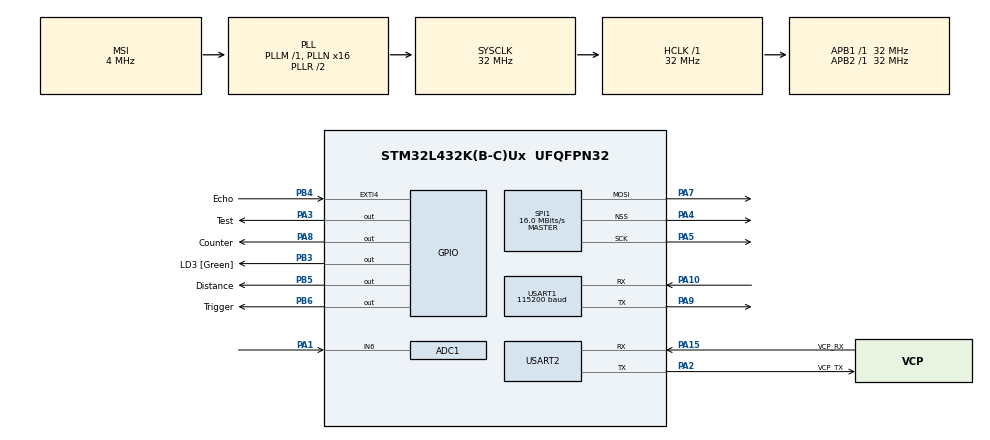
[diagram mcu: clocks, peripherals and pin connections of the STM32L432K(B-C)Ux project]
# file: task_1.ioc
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ADC1.Channel-0\#ChannelRegularConversion=ADC_CHANNEL_6
ADC1.ContinuousConvMode=DISABLE
ADC1.ExternalTrigConv=ADC_EXTERNALTRIG_T1_TRGO
ADC1.NbrOfConversionFlag=1
ADC1.OffsetNumber-0\#ChannelRegularConversion=ADC_OFFSET_NONE
ADC1.Rank-0\#ChannelRegularConversion=1
ADC1.Resolution=ADC_RESOLUTION_12B
ADC1.SamplingTime-0\#ChannelRegularConversion=ADC_SAMPLETIME_2CYCLES_5
ADC1.master=1
Dma.Request0=SPI1_TX
Dma.SPI1_TX.0.Direction=DMA_MEMORY_TO_PERIPH
Dma.SPI1_TX.0.Instance=DMA1_Channel3
Dma.SPI1_TX.0.MemDataAlignment=DMA_MDATAALIGN_BYTE
Dma.SPI1_TX.0.MemInc=DMA_MINC_ENABLE
Dma.SPI1_TX.0.Mode=DMA_NORMAL
Dma.SPI1_TX.0.PeriphDataAlignment=DMA_PDATAALIGN_BYTE
Dma.SPI1_TX.0.PeriphInc=DMA_PINC_DISABLE
Dma.SPI1_TX.0.Priority=DMA_PRIORITY_LOW
Mcu.Family=STM32L4
Mcu.Name=STM32L432K(B-C)Ux
Mcu.Package=UFQFPN32
NVIC.ADC1_IRQn=true\:0\:0\:false\:false\:true\:true\:true\:true
NVIC.DMA1_Channel3_IRQn=true\:0\:0\:false\:false\:true\:false\:true\:true
NVIC.EXTI4_IRQn=true\:0\:0\:false\:false\:true\:true\:true\:true
NVIC.PriorityGroup=NVIC_PRIORITYGROUP_4
NVIC.SPI1_IRQn=true\:0\:0\:false\:false\:true\:true\:true\:true
NVIC.TIM1_BRK_TIM15_IRQn=true\:0\:0\:false\:false\:true\:true\:true\:true
NVIC.TIM1_CC_IRQn=true\:0\:0\:false\:false\:true\:true\:true\:true
NVIC.TIM1_TRG_COM_IRQn=true\:0\:0\:false\:false\:true\:true\:true\:true
NVIC.TIM1_UP_TIM16_IRQn=true\:0\:0\:false\:false\:true\:true\:true\:true
NVIC.TIM2_IRQn=true\:0\:0\:false\:false\:true\:true\:true\:true
NVIC.USART1_IRQn=true\:0\:0\:false\:false\:true\:true\:true\:true
PA0.GPIO_Label=MCO [High speed clock in]
PA0.Mode=HSE-External-Clock-Source-for-LittleOrca
PA0.Signal=RCC_CK_IN
PA1.Signal=ADCx_IN6
PA10.Mode=Asynchronous
PA10.Signal=USART1_RX
PA13\ (JTMS-SWDIO).GPIO_Label=SWDIO
PA13\ (JTMS-SWDIO).Mode=Serial_Wire
PA13\ (JTMS-SWDIO).Signal=SYS_JTMS-SWDIO
PA14\ (JTCK-SWCLK).GPIO_Label=SWCLK
PA14\ (JTCK-SWCLK).Mode=Serial_Wire
PA14\ (JTCK-SWCLK).Signal=SYS_JTCK-SWCLK
PA15\ (JTDI).GPIO_Label=VCP_RX
PA15\ (JTDI).Mode=Asynchronous
PA15\ (JTDI).Signal=USART2_RX
PA2.GPIO_Label=VCP_TX
PA2.Mode=Asynchronous
PA2.Signal=USART2_TX
PA3.GPIO_Label=Test
PA3.Signal=GPIO_Output
PA4.Mode=NSS_Signal_Hard_Output
PA4.Signal=SPI1_NSS
PA5.Mode=TX_Only_Simplex_Unidirect_Master
PA5.Signal=SPI1_SCK
PA7.Mode=TX_Only_Simplex_Unidirect_Master
PA7.Signal=SPI1_MOSI
PA8.GPIO_Label=Counter
PA8.Signal=GPIO_Output
PA9.Mode=Asynchronous
PA9.Signal=USART1_TX
PB3\ (JTDO-TRACESWO).GPIO_Label=LD3 [Green]
PB3\ (JTDO-TRACESWO).Signal=GPIO_Output
PB4\ (NJTRST).GPIO_Label=Echo
PB4\ (NJTRST).GPIO_ModeDefaultEXTI=GPIO_MODE_IT_RISING_FALLING
PB4\ (NJTRST).Signal=GPXTI4
PB5.GPIO_Label=Distance
PB5.Signal=GPIO_Output
PB6.GPIO_Label=Trigger
PB6.Signal=GPIO_Output
PC14-OSC32_IN\ (PC14).Mode=LSE-External-Oscillator
PC14-OSC32_IN\ (PC14).Signal=RCC_OSC32_IN
PC15-OSC32_OUT\ (PC15).Mode=LSE-External-Oscillator
PC15-OSC32_OUT\ (PC15).Signal=RCC_OSC32_OUT
ProjectManager.HeapSize=0x200
ProjectManager.StackSize=0x400
ProjectManager.TargetToolchain=STM32CubeIDE
RCC.ADCFreq_Value=32000000
RCC.AHBFreq_Value=32000000
RCC.APB1Freq_Value=32000000
RCC.APB1TimFreq_Value=32000000
RCC.APB2Freq_Value=32000000
RCC.APB2TimFreq_Value=32000000
RCC.CortexFreq_Value=32000000
RCC.HCLKFreq_Value=32000000
RCC.HSE_VALUE=8000000
RCC.HSI16_VALUE=16000000
RCC.HSI48_VALUE=48000000
RCC.HSI_VALUE=16000000
RCC.MSI_VALUE=4000000
RCC.PLLMUL=RCC_PLLMUL_4
RCC.PLLN=16
RCC.PLLSAI1N=16
RCC.SYSCLKFreq_VALUE=32000000
RCC.SYSCLKSource=RCC_SYSCLKSOURCE_PLLCLK
RCC.USBFreq_Value=32000000
RCC.VCOOutputFreq_Value=64000000
SH.ADCx_IN6.0=ADC1_IN6,IN6-Single-Ended
SPI1.CalculateBaudRate=16.0 MBits/s
SPI1.DataSize=SPI_DATASIZE_12BIT
SPI1.Direction=SPI_DIRECTION_2LINES
SPI1.Mode=SPI_MODE_MASTER
SPI1.VirtualNSS=VM_NSSHARD
SPI1.VirtualType=VM_MASTER
TIM1.Period=120
TIM1.Prescaler=5
TIM1.TIM_MasterOutputTrigger=TIM_TRGO_UPDATE
TIM16.Period=60000
TIM16.Prescaler=31
TIM2.Period=10
TIM2.Prescaler=31
USART1.BaudRate=115200
USART1.VirtualMode-Asynchronous=VM_ASYNC
USART2.VirtualMode-Asynchronous=VM_ASYNC
VP_TIM16_VS_ClockSourceINT.Mode=Enable_Timer
VP_TIM1_VS_ClockSourceINT.Mode=Internal
VP_TIM2_VS_ClockSourceINT.Mode=Internal
board=NUCLEO-L432KC

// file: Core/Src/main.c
/* USER CODE BEGIN Header */
/**
  ******************************************************************************
  * @file           : main.c
  * @brief          : Main program body
  ******************************************************************************
  * @attention
  *
  * Copyright (c) 2026 STMicroelectronics.
  * All rights reserved.
  *
  * This software is licensed under terms that can be found in the LICENSE file
  * in the root directory of this software component.
  * If no LICENSE file comes with this software, it is provided AS-IS.
  *
  ******************************************************************************
  */
/* USER CODE END Header */
#include "main.h"

/* USER CODE BEGIN PTD */
typedef enum {
    RUNNING,
    WAIT_FOR_START,
	OUT_OF_DISTANCE
} SystemState;

typedef enum{
	MANUAL_RECORDING,
	DISTANCE_TRIGGERED
} Mode;

typedef enum{
	IDLE,
	TRIGGER_HIGH,
	WAITING_FOR_ECHO,
	ECHO_HIGH
} SensorState;
/* USER CODE END PTD */

ADC_HandleTypeDef hadc1;

TIM_HandleTypeDef htim1;
TIM_HandleTypeDef htim2;
TIM_HandleTypeDef htim16;

UART_HandleTypeDef huart1;
UART_HandleTypeDef huart2;

/* USER CODE BEGIN PV */

const uint8_t STOP_INSTRUCTION = 64;
const uint8_t START = 4;
const uint8_t RECEIVED_CONFIRMATION = 27;
const uint8_t MANUAL_RECORDING_MODE = 17;
const uint8_t DISTANCE_TRIGGERING_MODE = 34;
const double VALID_DISTANCE = 10;  //cm

SystemState state = RUNNING;
Mode operation_mode = MANUAL_RECORDING;
SensorState sensor = IDLE;
uint8_t instruction;
uint8_t received_confirmation;
uint8_t mode;
uint16_t echo_rising, echo_falling;

static void SPI1_WriteByte(uint16_t tx_byte){
	while(!LL_SPI_IsActiveFlag_TXE(SPI1)){;}
	LL_SPI_TransmitData8(SPI1, tx_byte);
	while(LL_SPI_IsActiveFlag_BSY(SPI1)){;}
	LL_SPI_ClearFlag_OVR(SPI1);
}

/* USER CODE END PV */

void SystemClock_Config(void);
static void MX_GPIO_Init(void);
static void MX_DMA_Init(void);
static void MX_USART2_UART_Init(void);
static void MX_ADC1_Init(void);
static void MX_TIM1_Init(void);
static void MX_USART1_UART_Init(void);
static void MX_SPI1_Init(void);
static void MX_TIM16_Init(void);
static void MX_TIM2_Init(void);

/* USER CODE BEGIN 0 */
void HAL_ADC_ConvCpltCallback(ADC_HandleTypeDef *hadc){
	HAL_GPIO_TogglePin(Test_GPIO_Port, Test_Pin);  // for debugging
	uint16_t data = HAL_ADC_GetValue(&hadc1);
	SPI1_WriteByte(data);
}

void HAL_TIM_PeriodElapsedCallback(TIM_HandleTypeDef *htim) {

    if (htim->Instance == TIM16 && operation_mode == DISTANCE_TRIGGERED)  // && sensor = IDLE
    {
      // fires every 60ms in distance triggering mode
		HAL_GPIO_TogglePin(Test_GPIO_Port, Test_Pin);
    	HAL_TIM_Base_Start_IT(&htim2);
		__HAL_TIM_SET_COUNTER(&htim2,  0);
		sensor = TRIGGER_HIGH;
		HAL_GPIO_WritePin(Trigger_GPIO_Port, Trigger_Pin, 1);

    } else if(htim->Instance == TIM2 && sensor == TRIGGER_HIGH && operation_mode == DISTANCE_TRIGGERED){
      // fire after trigger stays high for 10us
      sensor = WAITING_FOR_ECHO;
      HAL_GPIO_WritePin(Trigger_GPIO_Port, Trigger_Pin, 0);
      HAL_TIM_Base_Stop_IT(&htim2);

    } else if (htim->Instance == TIM1)
    {
	    HAL_GPIO_TogglePin(Counter_GPIO_Port, Counter_Pin);   // for debugging
    }
    };

void HAL_GPIO_EXTI_Callback(uint16_t GPIO_Pin)
{
	// to handle the rising edge and failling edge of the Echo
    if (GPIO_Pin == GPIO_PIN_4 && operation_mode == DISTANCE_TRIGGERED)  // PB7
    {
        if (HAL_GPIO_ReadPin(GPIOB, GPIO_PIN_4) == GPIO_PIN_SET && sensor == WAITING_FOR_ECHO)
        {
            // rising edge
            echo_rising = __HAL_TIM_GET_COUNTER(&htim16);
            sensor = ECHO_HIGH;
        }
        else if (HAL_GPIO_ReadPin(GPIOB, GPIO_PIN_4) != GPIO_PIN_SET && sensor == ECHO_HIGH)
        {
            // falling edge
            echo_falling = __HAL_TIM_GET_COUNTER(&htim16);
            sensor = IDLE;
            double distance = ((double)echo_falling - (double)echo_rising) * 0.01715;
            if (state == OUT_OF_DISTANCE && distance < VALID_DISTANCE){
            	state = RUNNING;
            	HAL_TIM_Base_Start_IT(&htim1);    // start sampling
			  __HAL_TIM_SET_COUNTER(&htim1, 0);
			  HAL_GPIO_WritePin(Distance_GPIO_Port, Distance_Pin, 0);
            } else if (state == RUNNING && distance > VALID_DISTANCE + 2){
            	state = OUT_OF_DISTANCE;
                HAL_TIM_Base_Stop_IT(&htim1);     // stop the sampling
                HAL_GPIO_WritePin(Distance_GPIO_Port, Distance_Pin, 1);
            }
        }
    }
}

void HAL_UART_RxCpltCallback(UART_HandleTypeDef *huart)
{
    if (huart->Instance == USART1)
    {
    	if (instruction == STOP_INSTRUCTION){
    		HAL_TIM_Base_Stop_IT(&htim1);
    		HAL_UART_Transmit(&huart1, &RECEIVED_CONFIRMATION, 1, HAL_MAX_DELAY);
			HAL_GPIO_WritePin(LD3_GPIO_Port, LD3_Pin,1);

    		HAL_UART_Receive(&huart1, &mode, 1, HAL_MAX_DELAY);

    		if (mode == 17 || mode == 34){
    			if (mode == 17){
    				operation_mode = MANUAL_RECORDING;
    			} else{
    				operation_mode = DISTANCE_TRIGGERED;
    			};

    			HAL_UART_Transmit(&huart1, &RECEIVED_CONFIRMATION, 1, HAL_MAX_DELAY);
    		} else{
    			// invalid mode received

    		}

    		state = WAIT_FOR_START;
    		HAL_UART_Receive_IT(&huart1, &instruction, 1); // re-arm for start instruction

    	} else if (instruction == START && state == WAIT_FOR_START){

    		HAL_UART_Receive_IT(&huart1, &instruction, 1); // re-arm for stop instruction
    		if (operation_mode == DISTANCE_TRIGGERED){
    			HAL_TIM_Base_Start_IT(&htim16);
    			__HAL_TIM_SET_COUNTER(&htim16,  58000);
    			state = OUT_OF_DISTANCE; // assume the sensor is out of distance when initialized

    		} else{
    			// start sampling if it is not in DISTANCE_Triggered
    			state = RUNNING;
			  HAL_TIM_Base_Start_IT(&htim1);
			  __HAL_TIM_SET_COUNTER(&htim1, 0);
    		}
    	}
    }
}

/* USER CODE END 0 */

int main(void)
{

  /* MCU Configuration--------------------------------------------------------*/

  /* Reset of all peripherals, Initializes the Flash interface and the Systick. */
  HAL_Init();

  /* Configure the system clock */
  SystemClock_Config();

  /* Initialize all configured peripherals */
  MX_GPIO_Init();
  MX_DMA_Init();
  MX_USART2_UART_Init();
  MX_ADC1_Init();
  MX_TIM1_Init();
  MX_USART1_UART_Init();
  MX_SPI1_Init();
  MX_TIM16_Init();
  MX_TIM2_Init();
  /* USER CODE BEGIN 2 */
  HAL_TIM_Base_Start_IT(&htim1);
  __HAL_TIM_SET_COUNTER(&htim1, 0);
  HAL_ADC_Start_IT(&hadc1);
  LL_SPI_Enable(SPI1);

  HAL_UART_Receive_IT(&huart1, &instruction, 1);
  HAL_GPIO_WritePin(Trigger_GPIO_Port, Trigger_Pin, 0);
  HAL_GPIO_WritePin(Distance_GPIO_Port, Distance_Pin, 0);

  //debugging signals

  HAL_GPIO_WritePin(Test_GPIO_Port, Test_Pin, 0);
  HAL_GPIO_WritePin(Counter_GPIO_Port, Counter_Pin, 0);

  /* USER CODE END 2 */

  /* Infinite loop */
  while (1)
  {

    /* USER CODE BEGIN 3 */
	  while(state == WAIT_FOR_START){
		  HAL_GPIO_TogglePin(LD3_GPIO_Port, LD3_Pin);
		  HAL_Delay(500);
	  }

	  while (state == RUNNING){
		  HAL_GPIO_WritePin(LD3_GPIO_Port, LD3_Pin, 0);
	  };

	  while (state == RUNNING && mode == DISTANCE_TRIGGERED){
		  HAL_GPIO_WritePin(LD3_GPIO_Port, LD3_Pin, 1);
	  };

	  while (state == OUT_OF_DISTANCE && mode == DISTANCE_TRIGGERED){
		  HAL_GPIO_WritePin(LD3_GPIO_Port, LD3_Pin,0);
	  }

  }
  /* USER CODE END 3 */
}

void SystemClock_Config(void)
{
  RCC_OscInitTypeDef RCC_OscInitStruct = {0};
  RCC_ClkInitTypeDef RCC_ClkInitStruct = {0};

  /** Configure the main internal regulator output voltage
  */
  if (HAL_PWREx_ControlVoltageScaling(PWR_REGULATOR_VOLTAGE_SCALE1) != HAL_OK)
  {
    Error_Handler();
  }

  /** Configure LSE Drive Capability
  */
  HAL_PWR_EnableBkUpAccess();
  __HAL_RCC_LSEDRIVE_CONFIG(RCC_LSEDRIVE_LOW);

  /** Initializes the RCC Oscillators according to the specified parameters
  * in the RCC_OscInitTypeDef structure.
  */
  RCC_OscInitStruct.OscillatorType = RCC_OSCILLATORTYPE_LSE|RCC_OSCILLATORTYPE_MSI;
  RCC_OscInitStruct.LSEState = RCC_LSE_ON;
  RCC_OscInitStruct.MSIState = RCC_MSI_ON;
  RCC_OscInitStruct.MSICalibrationValue = 0;
  RCC_OscInitStruct.MSIClockRange = RCC_MSIRANGE_6;
  RCC_OscInitStruct.PLL.PLLState = RCC_PLL_ON;
  RCC_OscInitStruct.PLL.PLLSource = RCC_PLLSOURCE_MSI;
  RCC_OscInitStruct.PLL.PLLM = 1;
  RCC_OscInitStruct.PLL.PLLN = 16;
  RCC_OscInitStruct.PLL.PLLP = RCC_PLLP_DIV7;
  RCC_OscInitStruct.PLL.PLLQ = RCC_PLLQ_DIV2;
  RCC_OscInitStruct.PLL.PLLR = RCC_PLLR_DIV2;
  if (HAL_RCC_OscConfig(&RCC_OscInitStruct) != HAL_OK)
  {
    Error_Handler();
  }

  /** Initializes the CPU, AHB and APB buses clocks
  */
  RCC_ClkInitStruct.ClockType = RCC_CLOCKTYPE_HCLK|RCC_CLOCKTYPE_SYSCLK
                              |RCC_CLOCKTYPE_PCLK1|RCC_CLOCKTYPE_PCLK2;
  RCC_ClkInitStruct.SYSCLKSource = RCC_SYSCLKSOURCE_PLLCLK;
  RCC_ClkInitStruct.AHBCLKDivider = RCC_SYSCLK_DIV1;
  RCC_ClkInitStruct.APB1CLKDivider = RCC_HCLK_DIV1;
  RCC_ClkInitStruct.APB2CLKDivider = RCC_HCLK_DIV1;

  if (HAL_RCC_ClockConfig(&RCC_ClkInitStruct, FLASH_LATENCY_1) != HAL_OK)
  {
    Error_Handler();
  }

  /** Enable MSI Auto calibration
  */
  HAL_RCCEx_EnableMSIPLLMode();
}

static void MX_ADC1_Init(void)
{

  ADC_ChannelConfTypeDef sConfig = {0};

  /** Common config
  */
  hadc1.Instance = ADC1;
  hadc1.Init.ClockPrescaler = ADC_CLOCK_ASYNC_DIV1;
  hadc1.Init.Resolution = ADC_RESOLUTION_12B;
  hadc1.Init.DataAlign = ADC_DATAALIGN_RIGHT;
  hadc1.Init.ScanConvMode = ADC_SCAN_DISABLE;
  hadc1.Init.EOCSelection = ADC_EOC_SINGLE_CONV;
  hadc1.Init.LowPowerAutoWait = DISABLE;
  hadc1.Init.ContinuousConvMode = DISABLE;
  hadc1.Init.NbrOfConversion = 1;
  hadc1.Init.DiscontinuousConvMode = DISABLE;
  hadc1.Init.ExternalTrigConv = ADC_EXTERNALTRIG_T1_TRGO;
  hadc1.Init.ExternalTrigConvEdge = ADC_EXTERNALTRIGCONVEDGE_RISING;
  hadc1.Init.DMAContinuousRequests = DISABLE;
  hadc1.Init.Overrun = ADC_OVR_DATA_PRESERVED;
  hadc1.Init.OversamplingMode = DISABLE;
  if (HAL_ADC_Init(&hadc1) != HAL_OK)
  {
    Error_Handler();
  }

  /** Configure Regular Channel
  */
  sConfig.Channel = ADC_CHANNEL_6;
  sConfig.Rank = ADC_REGULAR_RANK_1;
  sConfig.SamplingTime = ADC_SAMPLETIME_2CYCLES_5;
  sConfig.SingleDiff = ADC_SINGLE_ENDED;
  sConfig.OffsetNumber = ADC_OFFSET_NONE;
  sConfig.Offset = 0;
  if (HAL_ADC_ConfigChannel(&hadc1, &sConfig) != HAL_OK)
  {
    Error_Handler();
  }

}

static void MX_SPI1_Init(void)
{

  LL_SPI_InitTypeDef SPI_InitStruct = {0};

  LL_GPIO_InitTypeDef GPIO_InitStruct = {0};

  /* Peripheral clock enable */
  LL_APB2_GRP1_EnableClock(LL_APB2_GRP1_PERIPH_SPI1);

  LL_AHB2_GRP1_EnableClock(LL_AHB2_GRP1_PERIPH_GPIOA);
  /**SPI1 GPIO Configuration
  PA4   ------> SPI1_NSS
  PA5   ------> SPI1_SCK
  PA7   ------> SPI1_MOSI
  */
  GPIO_InitStruct.Pin = LL_GPIO_PIN_4|LL_GPIO_PIN_5|LL_GPIO_PIN_7;
  GPIO_InitStruct.Mode = LL_GPIO_MODE_ALTERNATE;
  GPIO_InitStruct.Speed = LL_GPIO_SPEED_FREQ_VERY_HIGH;
  GPIO_InitStruct.OutputType = LL_GPIO_OUTPUT_PUSHPULL;
  GPIO_InitStruct.Pull = LL_GPIO_PULL_NO;
  GPIO_InitStruct.Alternate = LL_GPIO_AF_5;
  LL_GPIO_Init(GPIOA, &GPIO_InitStruct);

  /* SPI1 DMA Init */

  /* SPI1_TX Init */
  LL_DMA_SetPeriphRequest(DMA1, LL_DMA_CHANNEL_3, LL_DMA_REQUEST_1);

  LL_DMA_SetDataTransferDirection(DMA1, LL_DMA_CHANNEL_3, LL_DMA_DIRECTION_MEMORY_TO_PERIPH);

  LL_DMA_SetChannelPriorityLevel(DMA1, LL_DMA_CHANNEL_3, LL_DMA_PRIORITY_LOW);

  LL_DMA_SetMode(DMA1, LL_DMA_CHANNEL_3, LL_DMA_MODE_NORMAL);

  LL_DMA_SetPeriphIncMode(DMA1, LL_DMA_CHANNEL_3, LL_DMA_PERIPH_NOINCREMENT);

  LL_DMA_SetMemoryIncMode(DMA1, LL_DMA_CHANNEL_3, LL_DMA_MEMORY_INCREMENT);

  LL_DMA_SetPeriphSize(DMA1, LL_DMA_CHANNEL_3, LL_DMA_PDATAALIGN_BYTE);

  LL_DMA_SetMemorySize(DMA1, LL_DMA_CHANNEL_3, LL_DMA_MDATAALIGN_BYTE);

  /* SPI1 interrupt Init */
  NVIC_SetPriority(SPI1_IRQn, NVIC_EncodePriority(NVIC_GetPriorityGrouping(),0, 0));
  NVIC_EnableIRQ(SPI1_IRQn);

  /* SPI1 parameter configuration*/
  SPI_InitStruct.TransferDirection = LL_SPI_FULL_DUPLEX;
  SPI_InitStruct.Mode = LL_SPI_MODE_MASTER;
  SPI_InitStruct.DataWidth = LL_SPI_DATAWIDTH_12BIT;
  SPI_InitStruct.ClockPolarity = LL_SPI_POLARITY_LOW;
  SPI_InitStruct.ClockPhase = LL_SPI_PHASE_1EDGE;
  SPI_InitStruct.NSS = LL_SPI_NSS_HARD_OUTPUT;
  SPI_InitStruct.BaudRate = LL_SPI_BAUDRATEPRESCALER_DIV2;
  SPI_InitStruct.BitOrder = LL_SPI_MSB_FIRST;
  SPI_InitStruct.CRCCalculation = LL_SPI_CRCCALCULATION_DISABLE;
  SPI_InitStruct.CRCPoly = 7;
  LL_SPI_Init(SPI1, &SPI_InitStruct);
  LL_SPI_SetStandard(SPI1, LL_SPI_PROTOCOL_MOTOROLA);
  LL_SPI_EnableNSSPulseMgt(SPI1);

}

static void MX_TIM1_Init(void)
{

  TIM_ClockConfigTypeDef sClockSourceConfig = {0};
  TIM_MasterConfigTypeDef sMasterConfig = {0};

  htim1.Instance = TIM1;
  htim1.Init.Prescaler = 5;
  htim1.Init.CounterMode = TIM_COUNTERMODE_UP;
  htim1.Init.Period = 120;
  htim1.Init.ClockDivision = TIM_CLOCKDIVISION_DIV1;
  htim1.Init.RepetitionCounter = 0;
  htim1.Init.AutoReloadPreload = TIM_AUTORELOAD_PRELOAD_DISABLE;
  if (HAL_TIM_Base_Init(&htim1) != HAL_OK)
  {
    Error_Handler();
  }
  sClockSourceConfig.ClockSource = TIM_CLOCKSOURCE_INTERNAL;
  if (HAL_TIM_ConfigClockSource(&htim1, &sClockSourceConfig) != HAL_OK)
  {
    Error_Handler();
  }
  sMasterConfig.MasterOutputTrigger = TIM_TRGO_UPDATE;
  sMasterConfig.MasterOutputTrigger2 = TIM_TRGO2_RESET;
  sMasterConfig.MasterSlaveMode = TIM_MASTERSLAVEMODE_DISABLE;
  if (HAL_TIMEx_MasterConfigSynchronization(&htim1, &sMasterConfig) != HAL_OK)
  {
    Error_Handler();
  }

}

static void MX_TIM2_Init(void)
{

  TIM_ClockConfigTypeDef sClockSourceConfig = {0};
  TIM_MasterConfigTypeDef sMasterConfig = {0};

  htim2.Instance = TIM2;
  htim2.Init.Prescaler = 31;
  htim2.Init.CounterMode = TIM_COUNTERMODE_UP;
  htim2.Init.Period = 10;
  htim2.Init.ClockDivision = TIM_CLOCKDIVISION_DIV1;
  htim2.Init.AutoReloadPreload = TIM_AUTORELOAD_PRELOAD_DISABLE;
  if (HAL_TIM_Base_Init(&htim2) != HAL_OK)
  {
    Error_Handler();
  }
  sClockSourceConfig.ClockSource = TIM_CLOCKSOURCE_INTERNAL;
  if (HAL_TIM_ConfigClockSource(&htim2, &sClockSourceConfig) != HAL_OK)
  {
    Error_Handler();
  }
  sMasterConfig.MasterOutputTrigger = TIM_TRGO_RESET;
  sMasterConfig.MasterSlaveMode = TIM_MASTERSLAVEMODE_DISABLE;
  if (HAL_TIMEx_MasterConfigSynchronization(&htim2, &sMasterConfig) != HAL_OK)
  {
    Error_Handler();
  }

}

static void MX_TIM16_Init(void)
{

  htim16.Instance = TIM16;
  htim16.Init.Prescaler = 31;
  htim16.Init.CounterMode = TIM_COUNTERMODE_UP;
  htim16.Init.Period = 60000;
  htim16.Init.ClockDivision = TIM_CLOCKDIVISION_DIV1;
  htim16.Init.RepetitionCounter = 0;
  htim16.Init.AutoReloadPreload = TIM_AUTORELOAD_PRELOAD_DISABLE;
  if (HAL_TIM_Base_Init(&htim16) != HAL_OK)
  {
    Error_Handler();
  }

}

static void MX_USART1_UART_Init(void)
{

  huart1.Instance = USART1;
  huart1.Init.BaudRate = 115200;
  huart1.Init.WordLength = UART_WORDLENGTH_8B;
  huart1.Init.StopBits = UART_STOPBITS_1;
  huart1.Init.Parity = UART_PARITY_NONE;
  huart1.Init.Mode = UART_MODE_TX_RX;
  huart1.Init.HwFlowCtl = UART_HWCONTROL_NONE;
  huart1.Init.OverSampling = UART_OVERSAMPLING_16;
  huart1.Init.OneBitSampling = UART_ONE_BIT_SAMPLE_DISABLE;
  huart1.AdvancedInit.AdvFeatureInit = UART_ADVFEATURE_NO_INIT;
  if (HAL_UART_Init(&huart1) != HAL_OK)
  {
    Error_Handler();
  }

}

static void MX_USART2_UART_Init(void)
{

  huart2.Instance = USART2;
  huart2.Init.BaudRate = 115200;
  huart2.Init.WordLength = UART_WORDLENGTH_8B;
  huart2.Init.StopBits = UART_STOPBITS_1;
  huart2.Init.Parity = UART_PARITY_NONE;
  huart2.Init.Mode = UART_MODE_TX_RX;
  huart2.Init.HwFlowCtl = UART_HWCONTROL_NONE;
  huart2.Init.OverSampling = UART_OVERSAMPLING_16;
  huart2.Init.OneBitSampling = UART_ONE_BIT_SAMPLE_DISABLE;
  huart2.AdvancedInit.AdvFeatureInit = UART_ADVFEATURE_NO_INIT;
  if (HAL_UART_Init(&huart2) != HAL_OK)
  {
    Error_Handler();
  }

}

static void MX_DMA_Init(void)
{

  /* DMA controller clock enable */
  __HAL_RCC_DMA1_CLK_ENABLE();

  /* DMA interrupt init */
  /* DMA1_Channel3_IRQn interrupt configuration */
  NVIC_SetPriority(DMA1_Channel3_IRQn, NVIC_EncodePriority(NVIC_GetPriorityGrouping(),0, 0));
  NVIC_EnableIRQ(DMA1_Channel3_IRQn);

}

static void MX_GPIO_Init(void)
{
  GPIO_InitTypeDef GPIO_InitStruct = {0};

  /* GPIO Ports Clock Enable */
  __HAL_RCC_GPIOC_CLK_ENABLE();
  __HAL_RCC_GPIOA_CLK_ENABLE();
  __HAL_RCC_GPIOB_CLK_ENABLE();

  /*Configure GPIO pin Output Level */
  HAL_GPIO_WritePin(GPIOA, Test_Pin|Counter_Pin, GPIO_PIN_RESET);

  /*Configure GPIO pin Output Level */
  HAL_GPIO_WritePin(GPIOB, LD3_Pin|Distance_Pin|Trigger_Pin, GPIO_PIN_RESET);

  /*Configure GPIO pins : Test_Pin Counter_Pin */
  GPIO_InitStruct.Pin = Test_Pin|Counter_Pin;
  GPIO_InitStruct.Mode = GPIO_MODE_OUTPUT_PP;
  GPIO_InitStruct.Pull = GPIO_NOPULL;
  GPIO_InitStruct.Speed = GPIO_SPEED_FREQ_LOW;
  HAL_GPIO_Init(GPIOA, &GPIO_InitStruct);

  /*Configure GPIO pins : LD3_Pin Distance_Pin Trigger_Pin */
  GPIO_InitStruct.Pin = LD3_Pin|Distance_Pin|Trigger_Pin;
  GPIO_InitStruct.Mode = GPIO_MODE_OUTPUT_PP;
  GPIO_InitStruct.Pull = GPIO_NOPULL;
  GPIO_InitStruct.Speed = GPIO_SPEED_FREQ_LOW;
  HAL_GPIO_Init(GPIOB, &GPIO_InitStruct);

  /*Configure GPIO pin : Echo_Pin */
  GPIO_InitStruct.Pin = Echo_Pin;
  GPIO_InitStruct.Mode = GPIO_MODE_IT_RISING_FALLING;
  GPIO_InitStruct.Pull = GPIO_NOPULL;
  HAL_GPIO_Init(Echo_GPIO_Port, &GPIO_InitStruct);

  /* EXTI interrupt init*/
  HAL_NVIC_SetPriority(EXTI4_IRQn, 0, 0);
  HAL_NVIC_EnableIRQ(EXTI4_IRQn);

}

void Error_Handler(void)
{
  __disable_irq();
  while (1)
  {
  }
}
